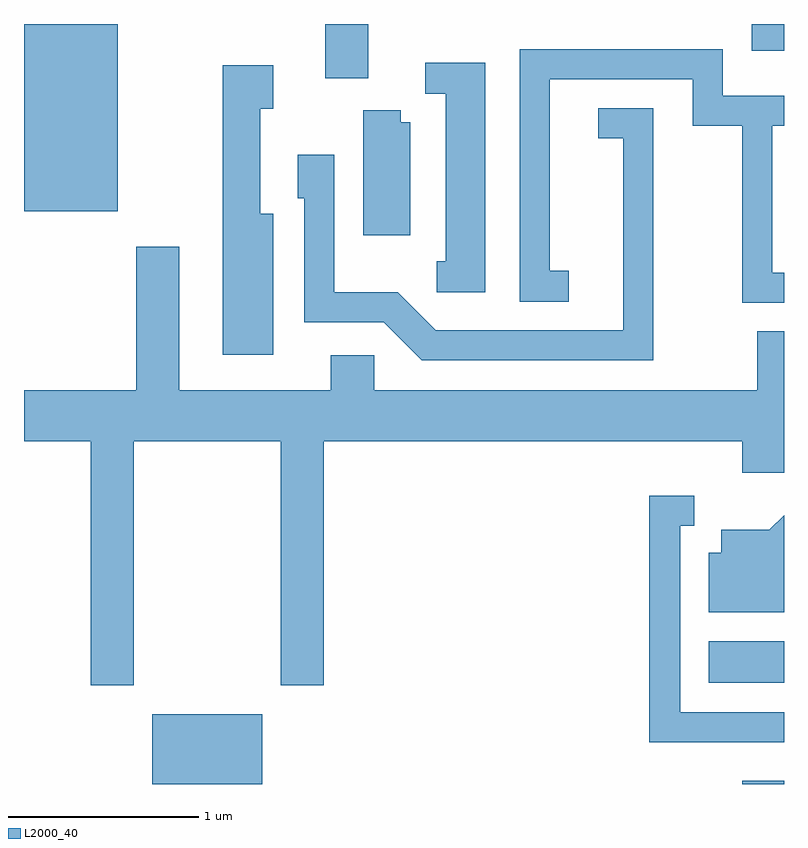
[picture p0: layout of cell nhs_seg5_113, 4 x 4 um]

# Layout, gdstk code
import gdstk
lib = gdstk.Library(unit=1e-6, precision=1e-09)
def R(c, l, rs):  # rectangles x0, y0, x1, y1
    for r in rs: c.add(gdstk.rectangle(r[:2], r[2:], *l))
def P(c, l, *ps):  # polygons
    for p in ps: c.add(gdstk.Polygon(p, *l))
L2000_40 = (2000, 40)

nhs_seg5_113 = lib.new_cell('nhs_seg5_113')
R(nhs_seg5_113, L2000_40, [(188.286,1486.072,188.864,1486.439), (191.391,1486.072,191.611,1486.089), (191.216,1486.606,191.611,1486.824), (187.611,1489.086,188.104,1490.072), (189.196,1489.786,189.424,1490.072), (191.441,1489.931,191.611,1490.072)])
P(nhs_seg5_113, L2000_40, [(191.611,1488.764),(191.549,1488.764),(191.549,1489.536),(191.611,1489.536),(191.611,1489.694),(191.289,1489.694),(191.289,1489.939),(190.221,1489.939),(190.221,1488.611),(190.478,1488.611),(190.478,1488.774),(190.379,1488.774),(190.379,1489.781),(191.131,1489.781),(191.131,1489.536),(191.391,1489.536),(191.391,1488.606),(191.611,1488.606)],
  [(190.039,1489.869),(189.723,1489.869),(189.723,1489.706),(189.831,1489.706),(189.831,1488.824),(189.783,1488.824),(189.783,1488.661),(190.039,1488.661)],
  [(188.924,1489.074),(188.854,1489.074),(188.854,1489.626),(188.924,1489.626),(188.924,1489.854),(188.656,1489.854),(188.656,1488.331),(188.924,1488.331)],
  [(190.924,1489.629),(190.633,1489.629),(190.633,1489.471),(190.766,1489.471),(190.766,1488.459),(189.777,1488.459),(189.577,1488.659),(189.244,1488.659),(189.244,1489.384),(189.051,1489.384),(189.051,1489.156),(189.086,1489.156),(189.086,1488.501),(189.504,1488.501),(189.704,1488.301),(190.924,1488.301)],
  [(189.644,1489.554),(189.594,1489.554),(189.594,1489.619),(189.396,1489.619),(189.396,1488.961),(189.644,1488.961)],
  [(188.189,1487.876),(188.961,1487.876),(188.961,1486.591),(189.189,1486.591),(189.189,1487.876),(191.391,1487.876),(191.391,1487.711),(191.611,1487.711),(191.611,1488.454),(191.471,1488.454),(191.471,1488.144),(189.454,1488.144),(189.454,1488.329),(189.226,1488.329),(189.226,1488.144),(188.429,1488.144),(188.429,1488.899),(188.201,1488.899),(188.201,1488.144),(187.611,1488.144),(187.611,1487.876),(187.961,1487.876),(187.961,1486.591),(188.189,1486.591)],
  [(191.611,1486.449),(191.064,1486.449),(191.064,1487.431),(191.138,1487.431),(191.138,1487.589),(190.901,1487.589),(190.901,1486.291),(191.611,1486.291)],
  [(191.611,1487.486),(191.534,1487.409),(191.281,1487.409),(191.281,1487.289),(191.216,1487.289),(191.216,1486.976),(191.611,1486.976)])

lib.write_gds('nhs_seg5_113.gds')
